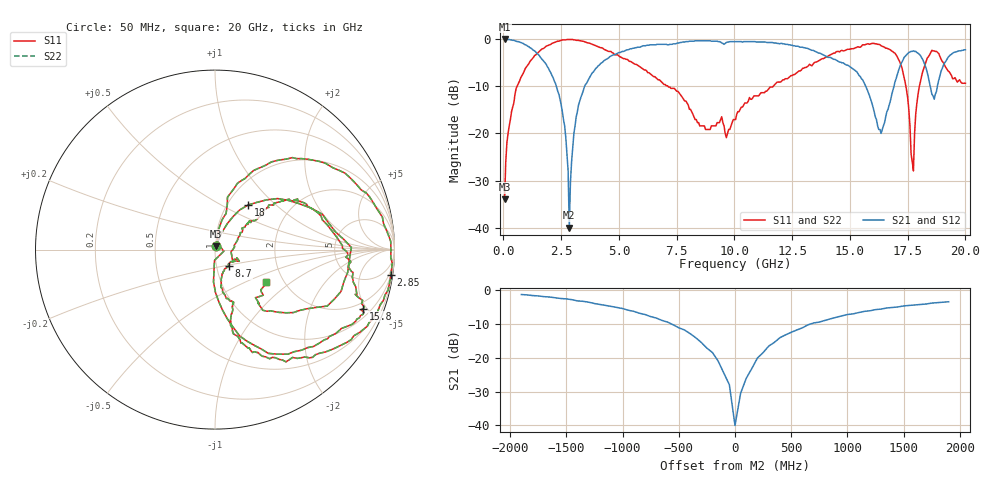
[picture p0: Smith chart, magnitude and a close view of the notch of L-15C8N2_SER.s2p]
# MHZ S MA R 50
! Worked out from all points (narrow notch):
!   400 points, 50 MHz to 20 GHz, reference 50 ohm
!   highest |S21| = 0.00 dB at 50 MHz (marker M1); lowest = -40.0 dB at 2.85 GHz (marker M2)
!   notch at M2: 37.4 dB deep, 324 MHz wide at half that depth
!   lowest |S11| = -34.0 dB at 50 MHz (marker M3), VSWR 1.04, Z = 50.6 + j1.93 ohm
!   |S11| at or under -10 dB: start of sweep to 590.8 MHz; 7.119 GHz to 11.68 GHz (4.563 GHz wide, 48.5 % of centre); 17.42 GHz to 18.01 GHz (585.4 MHz wide, 3.3 % of centre)
!   |S22| runs from -34.0 to -0.1 dB; largest |S21 - S12| = 0
!   S11 on the Smith chart (normalised r, x): 50 MHz: 1.01, +0.04; 2.85 GHz: 1, -14; 8.7 GHz: 1.14, -0.22; 15.8 GHz: 1.50, -4.76; 18 GHz: 1.24, +0.69; 20 GHz: 1.63, -0.67
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50  0.02 73.0  1 -0.3  1 -0.3  0.02 73.0
150  0.08 80.9  0.99 -3.2  0.99 -3.2  0.08 80.9
550  0.3 76.6  0.95 -17.2  0.95 -17.2  0.3 76.6
2250  0.93 14.2  0.34 -74.0  0.34 -74.0  0.93 14.2
2700  0.98 -2.5  0.09 -84.2  0.09 -84.2  0.98 -2.5
2800  0.99 -6.3  0.04 -61.8  0.04 -61.8  0.99 -6.3
2850  0.99 -8.2  0.01 -39.7  0.01 -39.7  0.99 -8.2
3050  0.98 -15.0  0.1 69.7  0.1 69.7  0.98 -15.0
3400  0.95 -25.3  0.26 63.4  0.26 63.4  0.95 -25.3
6700  0.37 -75.8  0.88 5.6  0.88 5.6  0.37 -75.8
8700  0.12 -50.7  0.96 -15.0  0.96 -15.0  0.12 -50.7
10050  0.14 25.9  0.94 -26.2  0.94 -26.2  0.14 25.9
13350  0.52 32.2  0.76 -64.6  0.76 -64.6  0.52 32.2
15800  0.89 -21.7  0.27 -94.1  0.27 -94.1  0.89 -21.7
16350  0.85 -30.2  0.1 -38.5  0.1 -38.5  0.85 -30.2
16700  0.78 -42.0  0.2 6.3  0.2 6.3  0.78 -42.0
17400  0.34 -82.9  0.66 -7.8  0.66 -7.8  0.34 -82.9
17750  0.04 72.7  0.75 -31.9  0.75 -31.9  0.04 72.7
18000  0.31 53.4  0.69 -49.0  0.69 -49.0  0.31 53.4
18550  0.76 0.9  0.26 -55.0  0.26 -55.0  0.76 0.9
19050  0.56 -38.8  0.53 -10.4  0.53 -10.4  0.56 -38.8
20000  0.34 -32.5  0.77 -42.4  0.77 -42.4  0.34 -32.5
